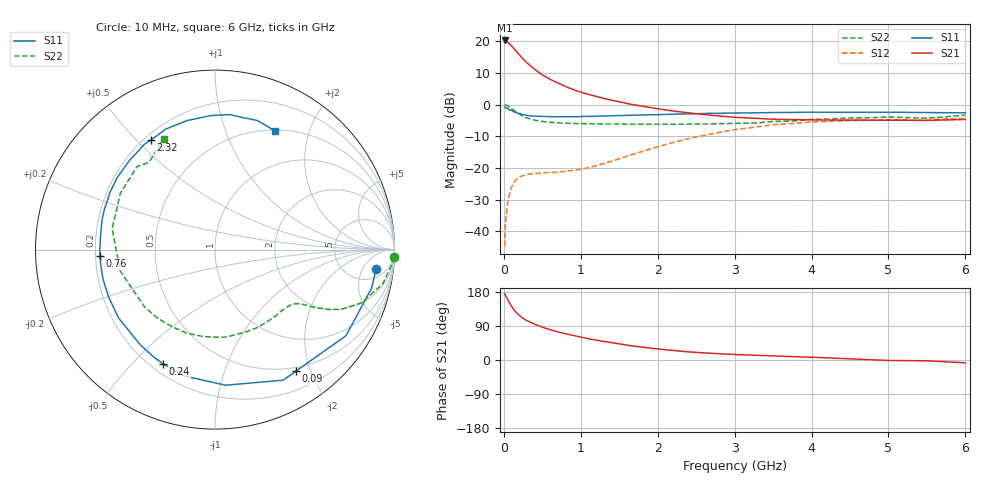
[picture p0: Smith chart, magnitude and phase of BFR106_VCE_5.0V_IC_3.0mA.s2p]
! Infineon Technologies  Discrete & RF Semiconductors
! BFR106
! VCE =  5.0 V,  IC =  3.0 mA
! Common Emitter S-Parameters:  Nov 2015
# GHz  S  MA  R  50
!  f  S11  S21  S12  S22
! GHz  MAG  ANG  MAG  ANG  MAG  ANG  MAG  ANG
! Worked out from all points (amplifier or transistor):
!   210 points, 10 MHz to 6 GHz, reference 50 ohm
!   highest |S21| = 20.2 dB at 10 MHz (marker M1)
!   |S21| within 3 dB of that: start of sweep to 145.6 MHz
!   unconditionally stable (mu >= 1): 715.7 MHz to 1.872 GHz; 4.321 GHz to end of sweep
!   at 185 MHz: K = 0.29, MSG = 19.7 dB, |S12| = -23.2 dB
!   at 1.52 GHz: K = 1.14, MAG = 6.6 dB, |S12| = -17.0 dB
!   at 6 GHz: K = 1.02, MAG = -1.1 dB, |S12| = -4.4 dB
!   S11 on the Smith chart (normalised r, x): 10 MHz: 8, -10; 90 MHz: 0.44, -1.78; 240 MHz: 0.25, -0.62; 760 MHz: 0.22, -0.03; 2.32 GHz: 0.23, +0.55; 6 GHz: 0.52, +1.50
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0.01  0.9039 -7.0  10.27 175.0  0.0058 88.8  0.9974 -2.4
0.02  0.8985 -13.8  10.2 171.5  0.0117 85.4  0.9885 -4.8
0.05  0.8735 -33.3  9.616 158.5  0.0285 72.8  0.9544 -11.5
0.09  0.8137 -56.4  8.643 145.5  0.0456 61.0  0.8836 -18.2
0.1  0.8207 -62.4  8.479 141.8  0.05 59.3  0.8679 -20.0
0.15  0.758 -85.5  7.176 127.4  0.0631 48.2  0.7753 -25.5
0.2  0.7244 -103.4  6.126 117.9  0.0715 42.1  0.7075 -28.1
0.24  0.6989 -114.4  5.415 111.4  0.0751 38.2  0.6625 -29.5
0.26  0.6902 -119.3  5.108 108.4  0.0765 36.8  0.6438 -30.1
0.3  0.6742 -128.2  4.558 103.6  0.0786 35.1  0.6137 -30.9
0.4  0.6587 -144.7  3.59 94.2  0.0817 32.5  0.5653 -32.3
0.5  0.6489 -155.8  2.931 86.3  0.0835 32.5  0.5396 -33.9
0.6  0.6453 -165.4  2.505 80.0  0.0846 34.1  0.5237 -36.0
0.76  0.6414 -176.9  2.028 71.5  0.0873 39.1  0.5089 -40.2
1.02  0.6461 168.4  1.542 59.5  0.0961 49.2  0.5002 -48.1
1.4  0.6664 151.9  1.168 45.7  0.1269 62.6  0.4939 -62.2
2.02  0.6921 129.9  0.85 28.9  0.2189 67.0  0.4879 -89.4
2.32  0.7074 120.5  0.759 22.9  0.2742 64.1  0.4881 -104.6
3.1  0.7361 99.9  0.62 13.7  0.4141 49.2  0.5042 -146.4
4.1  0.755 82.5  0.57 6.5  0.5351 27.1  0.5849 164.6
5.1  0.7543 70.9  0.565 -1.4  0.5745 9.7  0.6289 132.0
6  0.7398 63.1  0.581 -7.6  0.606 -1.8  0.6801 114.9
